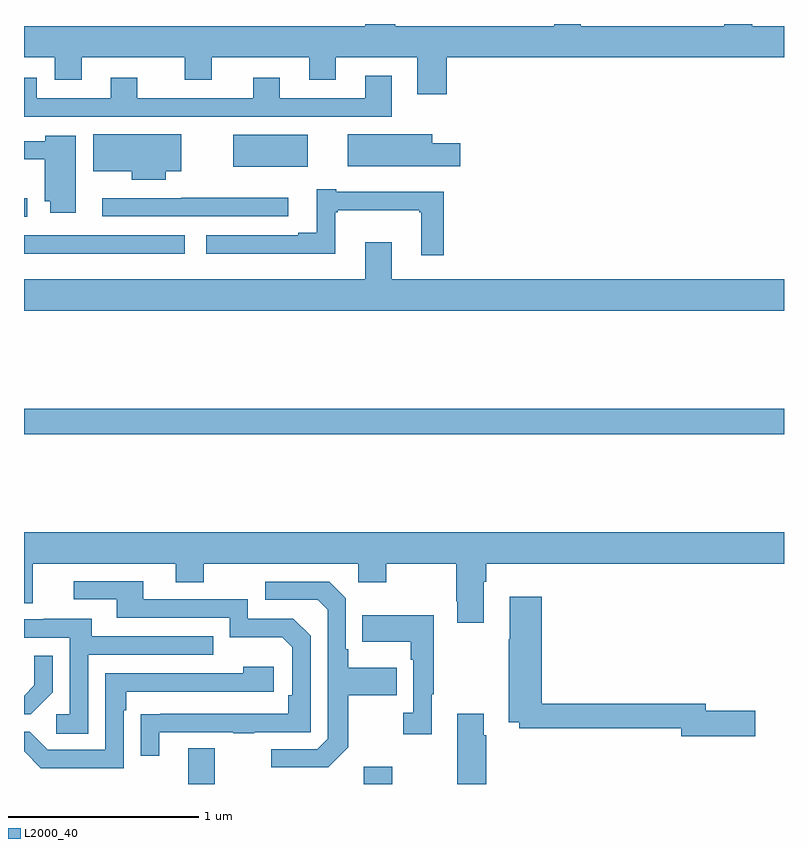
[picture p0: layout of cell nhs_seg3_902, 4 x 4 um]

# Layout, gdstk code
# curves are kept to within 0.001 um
import gdstk
lib = gdstk.Library(unit=1e-6, precision=1e-09)
def R(c, l, rs):  # rectangles x0, y0, x1, y1
    for r in rs: c.add(gdstk.rectangle(r[:2], r[2:], *l))
def P(c, l, *ps):  # polygons
    for p in ps: c.add(gdstk.Polygon(p, *l))
L2000_40 = (2000, 40)

nhs_seg3_902 = lib.new_cell('nhs_seg3_902')
R(nhs_seg3_902, L2000_40, [(157.865,722.4,158.005,722.587), (158.789,722.4,158.937,722.491), (157,724.24,161,724.376), (157,725.192,157.846,725.289), (157,725.385,157.018,725.483), (158.102,725.648,158.494,725.818)])
P(nhs_seg3_902, L2000_40, [(159.224,726.224),(161,726.224),(161,726.388),(160.833,726.388),(160.833,726.4),(160.685,726.4),(160.685,726.388),(159.931,726.388),(159.931,726.4),(159.791,726.4),(159.791,726.388),(158.955,726.388),(158.955,726.4),(158.795,726.4),(158.795,726.388),(157,726.388),(157,726.224),(157.163,726.224),(157.163,726.107),(157.303,726.107),(157.303,726.224),(157.847,726.224),(157.847,726.107),(157.987,726.107),(157.987,726.224),(158.501,726.224),(158.501,726.107),(158.641,726.107),(158.641,726.224),(159.071,726.224),(159.071,726.03),(159.224,726.03)],
  [(158.935,726.127),(158.795,726.127),(158.795,726.009),(158.347,726.009),(158.347,726.118),(158.207,726.118),(158.207,726.009),(157.597,726.009),(157.597,726.118),(157.457,726.118),(157.457,726.009),(157.066,726.009),(157.066,726.118),(157,726.118),(157,725.913),(158.935,725.913)],
  [(159.295,725.773),(159.148,725.773),(159.148,725.821),(158.705,725.821),(158.705,725.651),(159.295,725.651)],
  [(157.745,725.624),(157.828,725.624),(157.828,725.821),(157.364,725.821),(157.364,725.624),(157.567,725.624),(157.567,725.579),(157.745,725.579)],
  [(157.273,725.812),(157.113,725.812),(157.113,725.784),(157,725.784),(157,725.687),(157.109,725.687),(157.109,725.468),(157.139,725.468),(157.139,725.406),(157.273,725.406)],
  [(159.209,725.518),(158.644,725.518),(158.644,725.53),(158.54,725.53),(158.54,725.302),(158.444,725.302),(158.444,725.289),(157.959,725.289),(157.959,725.192),(158.638,725.192),(158.638,725.409),(158.65,725.409),(158.65,725.42),(159.081,725.42),(159.081,725.409),(159.092,725.409),(159.092,725.184),(159.209,725.184)],
  [(158.392,725.485),(157.828,725.485),(157.828,725.484),(157.413,725.484),(157.413,725.388),(158.392,725.388)],
  [(161,725.056),(158.935,725.056),(158.935,725.251),(158.795,725.251),(158.795,725.056),(157,725.056),(157,724.892),(161,724.892)],
  [(159.421,723.464),(159.434,723.464),(159.434,723.56),(161,723.56),(161,723.724),(157,723.724),(157,723.352),(157.045,723.352),(157.045,723.56),(157.799,723.56),(157.799,723.461),(157.947,723.461),(157.947,723.56),(158.76,723.56),(158.76,723.461),(158.907,723.461),(158.907,723.56),(159.274,723.56),(159.274,723.361),(159.281,723.361),(159.281,723.249),(159.421,723.249)],
  [(157.711,722.673),(158.101,722.673),(158.101,722.668),(158.213,722.668),(158.213,722.673),(158.508,722.673),(158.508,723.18),(158.418,723.27),(158.178,723.27),(158.178,723.372),(157.627,723.372),(157.627,723.468),(157.263,723.468),(157.263,723.372),(157.487,723.372),(157.487,723.276),(158.082,723.276),(158.082,723.173),(158.359,723.173),(158.412,723.12),(158.412,722.866),(158.392,722.866),(158.392,722.769),(157.615,722.768),(157.615,722.55),(157.711,722.55)],
  [(158.707,722.593),(158.707,722.866),(158.963,722.866),(158.963,723.013),(158.707,723.013),(158.707,723.109),(158.694,723.109),(158.694,723.378),(158.607,723.465),(158.271,723.465),(158.271,723.369),(158.547,723.369),(158.598,723.318),(158.598,722.637),(158.544,722.583),(158.301,722.583),(158.301,722.487),(158.601,722.487)],
  [(160.849,722.786),(160.588,722.786),(160.588,722.822),(159.725,722.822),(159.725,723.385),(159.557,723.385),(159.557,723.161),(159.55,723.161),(159.55,722.726),(159.606,722.726),(159.606,722.694),(160.46,722.694),(160.46,722.651),(160.849,722.651)],
  [(159.145,722.873),(159.157,722.873),(159.157,723.289),(158.779,723.289),(158.779,723.149),(159.036,723.149),(159.036,723.053),(159.048,723.053),(159.048,722.774),(158.997,722.774),(158.997,722.661),(159.145,722.661)],
  [(157.338,723.081),(157.997,723.081),(157.997,723.177),(157.357,723.177),(157.357,723.271),(157.103,723.271),(157.103,723.267),(157,723.267),(157,723.171),(157.242,723.171),(157.242,722.766),(157.17,722.766),(157.17,722.665),(157.338,722.665)],
  [(157.152,722.882),(157.152,723.076),(157.055,723.076),(157.055,722.919),(157,722.864),(157,722.766),(157.036,722.766)],
  [(157.524,722.789),(157.537,722.789),(157.537,722.886),(158.314,722.886),(158.314,723.016),(158.153,723.016),(158.153,722.982),(157.428,722.982),(157.428,722.58),(157.125,722.58),(157.029,722.676),(157,722.676),(157,722.573),(157.089,722.484),(157.524,722.484)],
  [(159.434,722.657),(159.421,722.657),(159.421,722.77),(159.281,722.77),(159.281,722.4),(159.434,722.4)])

lib.write_gds('nhs_seg3_902.gds')
